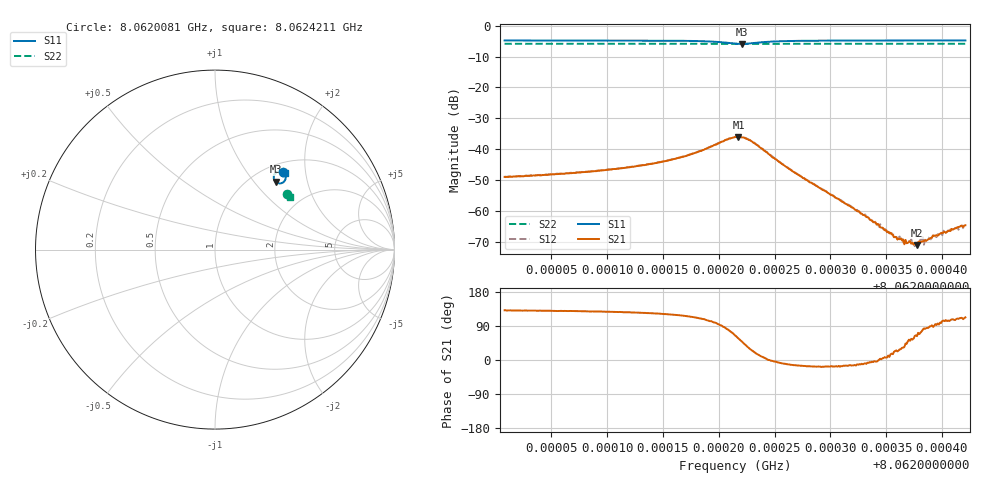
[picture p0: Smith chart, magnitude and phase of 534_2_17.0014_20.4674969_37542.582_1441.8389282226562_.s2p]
#  HZ  S  RI  R  50.00
! Rohde & Schwarz Vector Network Analyzer
! Rohde-Schwarz,ZNB20-2Port,1311601062101988,3.16
! Created: UTC 3/20/2024, 11:16:02 PM
! freq[Hz]  re:S11  im:S11  re:S21  im:S21  re:S12  im:S12  re:S22  im:S22
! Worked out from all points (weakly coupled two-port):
!   401 points, 8.0620081 GHz to 8.0624211 GHz, reference 50 ohm
!   highest |S21| = -36.02 dB at 8.0622177 GHz (marker M1); lowest = -71.0 dB at 8.0623777 GHz (marker M2)
!   lowest |S11| = -5.9 dB at 8.0622208 GHz (marker M3), VSWR 3.05, Z = 63.8 + j65 ohm
!   |S11| at or under -10 dB: nowhere
!   |S22| runs from -5.9 to -5.9 dB; largest |S21 - S12| = 0.001
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8.0620081e9  0.3775 0.4351  -0.00233 0.00267  -0.00217 0.00284  0.4031 0.311
8.06207728e9  0.3834 0.4293  -0.00264 0.00332  -0.0025 0.00348  0.4058 0.3072
8.06212167e9  0.3879 0.4233  -0.003 0.0042  -0.00273 0.0044  0.4073 0.3049
8.06214645e9  0.3908 0.418  -0.00327 0.00515  -0.003 0.00541  0.4082 0.3034
8.06217639e9  0.3943 0.4054  -0.00336 0.00771  -0.0029 0.00799  0.4091 0.3015
8.06220014e9  0.387 0.3814  -0.000862 0.0125  -0.000123 0.0127  0.4093 0.2993
8.0622146e9  0.3555 0.3691  0.00659 0.0142  0.00745 0.0139  0.4083 0.2985
8.06221769e9  0.3458 0.3721  0.00864 0.0132  0.00947 0.0128  0.4079 0.2985
8.06222079e9  0.3374 0.3781  0.0103 0.0116  0.0111 0.0111  0.4077 0.2989
8.06223112e9  0.3275 0.4076  0.0118 0.00476  0.0122 0.00417  0.4079 0.2998
8.06225796e9  0.3543 0.4354  0.00549 -0.000928  0.0055 -0.00124  0.4105 0.2994
8.06228377e9  0.3684 0.4354  0.00268 -0.000827  0.00263 -0.000998  0.4121 0.2981
8.06233023e9  0.3795 0.4312  0.000847 -0.000146  0.000838 -0.000173  0.414 0.2954
8.06235295e9  0.3827 0.4292  0.00043 6.11e-05  0.00045 4.52e-05  0.4149 0.2942
8.06235914e9  0.3834 0.4288  0.000341 0.000161  0.000349 0.000136  0.415 0.2939
8.0623674e9  0.3844 0.4281  0.000247 0.000233  0.000243 0.000182  0.4154 0.2935
8.0623705e9  0.3847 0.4279  0.000185 0.000254  0.000231 0.000229  0.4156 0.2933
8.06237773e9  0.3855 0.4274  0.000128 0.000251  0.00016 0.000284  0.4157 0.2929
8.06238082e9  0.3859 0.4272  9.4e-05 0.000292  0.000104 0.000329  0.4158 0.2929
8.06238599e9  0.3864 0.4269  3.46e-05 0.000326  0.000103 0.00032  0.4161 0.2924
8.06240044e9  0.3876 0.4257  -9.89e-05 0.000426  -2.94e-05 0.000403  0.4167 0.2917
8.06242109e9  0.3894 0.4244  -0.000223 0.000542  -0.000187 0.00057  0.4173 0.2906
